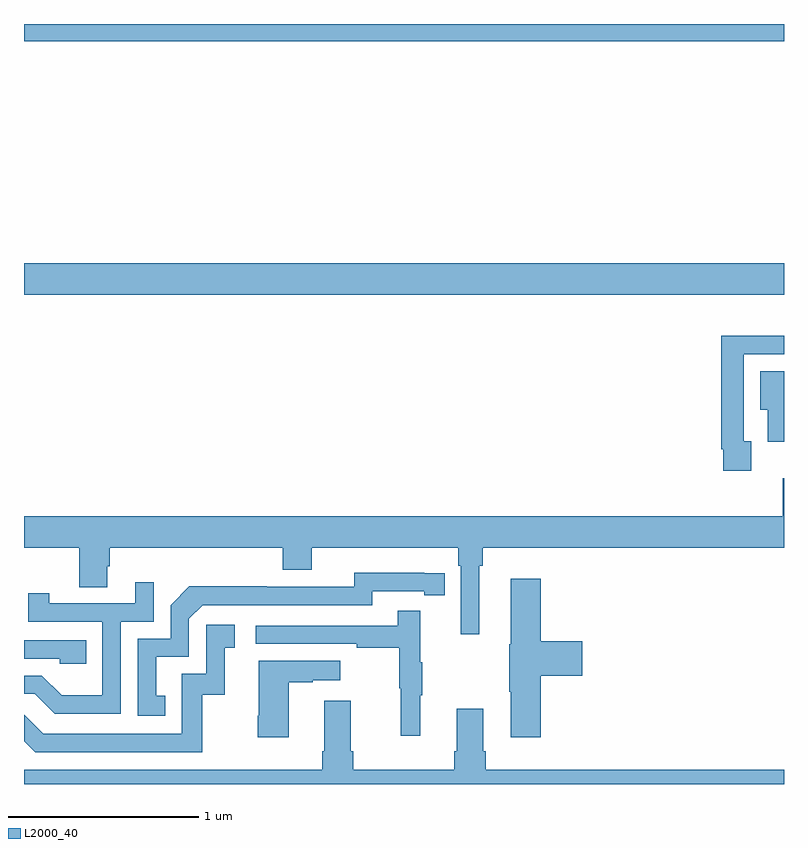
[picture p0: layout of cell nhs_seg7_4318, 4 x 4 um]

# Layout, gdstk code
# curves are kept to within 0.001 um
import gdstk
lib = gdstk.Library(unit=1e-6, precision=1e-09)
def R(c, l, rs):  # rectangles x0, y0, x1, y1
    for r in rs: c.add(gdstk.rectangle(r[:2], r[2:], *l))
def P(c, l, *ps):  # polygons
    for p in ps: c.add(gdstk.Polygon(p, *l))
L2000_40 = (2000, 40)

nhs_seg7_4318 = lib.new_cell('nhs_seg7_4318')
R(nhs_seg7_4318, L2000_40, [(383,1040.576,387,1040.74), (383,1041.908,387,1042)])
P(nhs_seg7_4318, L2000_40, [(386.827,1039.805),(386.787,1039.805),(386.787,1040.262),(387,1040.262),(387,1040.358),(386.963,1040.358),(386.963,1040.36),(386.671,1040.36),(386.671,1039.762),(386.679,1039.762),(386.679,1039.65),(386.827,1039.65)],
  [(387,1040.173),(386.876,1040.173),(386.876,1039.97),(386.915,1039.97),(386.915,1039.802),(387,1039.802)],
  [(383,1039.244),(383.29,1039.244),(383.29,1039.036),(383.437,1039.036),(383.437,1039.146),(383.45,1039.146),(383.45,1039.244),(384.362,1039.244),(384.362,1039.127),(384.514,1039.127),(384.514,1039.244),(385.286,1039.244),(385.286,1039.148),(385.299,1039.148),(385.299,1038.789),(385.396,1038.789),(385.396,1039.148),(385.415,1039.148),(385.415,1039.244),(387,1039.244),(387,1039.61),(386.993,1039.61),(386.993,1039.408),(383,1039.408)],
  [(383.744,1038.465),(383.695,1038.465),(383.695,1038.669),(383.868,1038.669),(383.868,1038.87),(383.94,1038.942),(384.834,1038.942),(384.834,1039.014),(385.106,1039.014),(385.106,1038.994),(385.214,1038.994),(385.214,1039.11),(384.738,1039.111),(384.738,1039.038),(384.278,1039.038),(384.278,1039.04),(383.87,1039.04),(383.772,1038.942),(383.772,1038.765),(383.598,1038.765),(383.598,1038.36),(383.744,1038.36)],
  [(385.721,1038.569),(385.939,1038.569),(385.939,1038.752),(385.721,1038.752),(385.721,1039.081),(385.562,1039.081),(385.562,1038.735),(385.555,1038.735),(385.555,1038.485),(385.562,1038.485),(385.562,1038.246),(385.721,1038.246)],
  [(383.508,1038.855),(383.682,1038.855),(383.682,1039.063),(383.585,1039.063),(383.585,1038.951),(383.134,1038.951),(383.134,1039.003),(383.023,1039.003),(383.023,1038.855),(383.412,1038.855),(383.412,1038.466),(383.198,1038.466),(383.094,1038.57),(383,1038.57),(383,1038.474),(383.057,1038.474),(383.162,1038.369),(383.508,1038.369)],
  [(385.085,1038.467),(385.096,1038.467),(385.096,1038.641),(385.085,1038.641),(385.085,1038.913),(384.967,1038.913),(384.967,1038.834),(384.219,1038.834),(384.219,1038.738),(384.751,1038.738),(384.751,1038.718),(384.975,1038.718),(384.975,1038.504),(384.982,1038.504),(384.982,1038.255),(385.085,1038.255)],
  [(383.938,1038.471),(384.056,1038.471),(384.056,1038.717),(384.109,1038.717),(384.109,1038.838),(383.958,1038.838),(383.958,1038.579),(383.829,1038.579),(383.829,1038.264),(383.1,1038.264),(383,1038.364),(383,1038.226),(383.058,1038.168),(383.938,1038.168)],
  [(383.327,1038.756),(383,1038.756),(383,1038.66),(383.187,1038.66),(383.187,1038.633),(383.327,1038.633)],
  [(384.394,1038.535),(384.521,1038.535),(384.521,1038.545),(384.664,1038.545),(384.664,1038.649),(384.236,1038.649),(384.236,1038.358),(384.229,1038.358),(384.229,1038.246),(384.394,1038.246)],
  [(387,1038.076),(385.43,1038.076),(385.43,1038.172),(385.417,1038.172),(385.417,1038.397),(385.277,1038.397),(385.277,1038.172),(385.265,1038.172),(385.265,1038.076),(384.734,1038.076),(384.734,1038.172),(384.721,1038.172),(384.721,1038.439),(384.581,1038.439),(384.581,1038.172),(384.569,1038.172),(384.569,1038.076),(383,1038.076),(383,1038),(387,1038)])

lib.write_gds('nhs_seg7_4318.gds')
